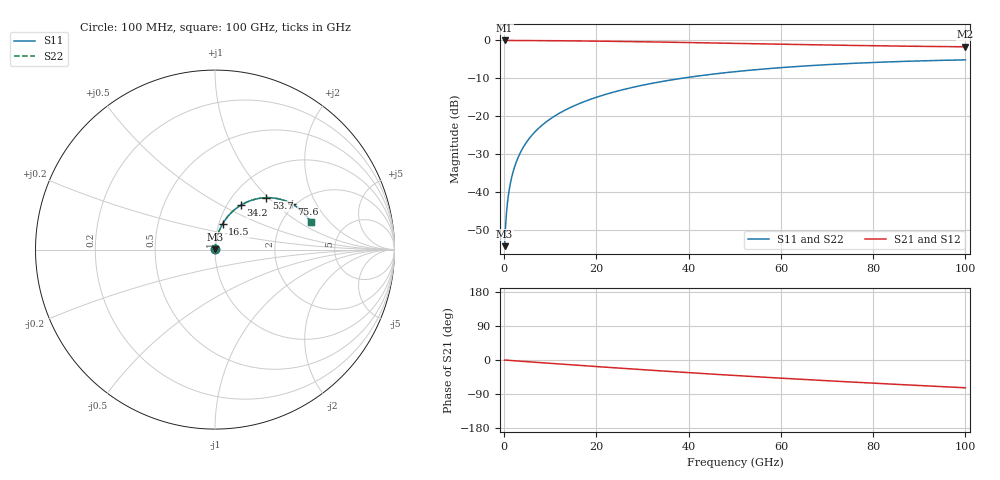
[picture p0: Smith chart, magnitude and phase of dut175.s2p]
! Touchstone file exported from HFSS 2026.1.0
!  File:  C:/ffzhzh/LocalFiles/Ansys_Project_Files/temp_train_RDL_175_1783500288_31944.aedt
!  Generated:  04:45:51 PM Jul  8, 2026
!  Design:  RDL
!  Project:  temp_train_RDL_175_1783500288_31944
! Variables:
!  h_bsmrdl = 2um
!  h_ox = 20um
!  h_rdl = 5um
!  h_sub = 80um
!  h_tmrdl = 3.1um
!  h_tsv = 80um
!  h_via = 3um
!  l_bsmrdl = 300um
!  l_sub = 619.39um
!  l_tmrdl = 219.39um
!  m_sub = 200um
!  pitch = 40.08um
!  r_tsv = 6um
!  s_tmrdl = 10um
!  w_bsmrdl = 18um
!  w_sub = 500um
!  w_tmrdl = 17.38um
!  x_tsv_center1 = 228.08um
!  x_tsv_center2 = 546.08um
!  x_tsv_center3 = 782.85um
!  x_tsv_center4 = 1100.85um
!  x_tsv_center5 = 1337.62um
!  x_tsv_center6 = 1655.62um
# GHz S MA R 50.000000
! Terminal data exported
! Port[1] = TM_RDL1_1_T1
! Port[2] = TM_RDL1_1_T2
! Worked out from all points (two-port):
!   1000 points, 100 MHz to 100 GHz, reference 50 ohm
!   highest |S21| = -0.01 dB at 100 MHz (marker M1); lowest = -1.7 dB at 100 GHz (marker M2)
!   |S21| within 3 dB of the highest: start of sweep to end of sweep
!   lowest |S11| = -54.2 dB at 100 MHz (marker M3), VSWR 1.00, Z = 50.2 + j0.103 ohm
!   |S11| at or under -10 dB: start of sweep to 38.44 GHz
!   |S22| runs from -54.2 to -5.1 dB; largest |S21 - S12| = 9.1e-15
!   S11 on the Smith chart (normalised r, x): 100 MHz: 1.00, +0.00; 16.5 GHz: 1.04, +0.30; 34.2 GHz: 1.16, +0.63; 53.7 GHz: 1.41, +0.97; 75.6 GHz: 1.92, +1.30; 100 GHz: 2.87, +1.26
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0.1  0.001943 31.9  0.9984 -0.1  0.9984 -0.1  0.001943 31.9
! Gamma 0 0 0 0
! Port Impedance 50 0 50 0
0.4  0.004382 65.3  0.9982 -0.4  0.9982 -0.4  0.004382 65.3
0.9  0.008909 76.3  0.998 -0.8  0.998 -0.8  0.008909 76.3
1.2  0.01166 78.8  0.9979 -1.1  0.9979 -1.1  0.01166 78.8
1.5  0.01444 80.3  0.9978 -1.3  0.9978 -1.3  0.01444 80.3
2  0.01909 81.7  0.9977 -1.8  0.9977 -1.8  0.01909 81.7
2.6  0.02468 82.4  0.9974 -2.3  0.9974 -2.3  0.02468 82.5
4.1  0.03864 82.6  0.9967 -3.7  0.9967 -3.7  0.03864 82.6
6.2  0.058 81.5  0.9953 -5.5  0.9953 -5.5  0.058 81.6
8.9  0.08248 79.6  0.9929 -7.9  0.9929 -7.9  0.08248 79.6
12.3  0.1126 76.9  0.9892 -10.8  0.9892 -10.8  0.1126 76.9
16.5  0.1488 73.6  0.9836 -14.4  0.9836 -14.4  0.1488 73.6
16.8  0.1514 73.3  0.9831 -14.6  0.9831 -14.6  0.1514 73.4
24.2  0.212 67.5  0.9708 -20.8  0.9708 -20.8  0.212 67.5
33.4  0.2814 60.3  0.9523 -28.2  0.9523 -28.2  0.2814 60.3
34.2  0.2871 59.6  0.9505 -28.9  0.9505 -28.9  0.2871 59.7
50.1  0.3874 47.8  0.9137 -40.9  0.9137 -40.9  0.3874 47.9
53.7  0.4068 45.3  0.9052 -43.5  0.9052 -43.5  0.4067 45.4
66.7  0.4664 36.4  0.876 -52.5  0.876 -52.5  0.4663 36.6
75.6  0.4984 30.7  0.8583 -58.3  0.8583 -58.3  0.4984 30.8
83.4  0.5211 25.8  0.8448 -63.3  0.8448 -63.3  0.5211 26.0
100  0.5541 15.9  0.8237 -73.3  0.8237 -73.3  0.554 16.1
